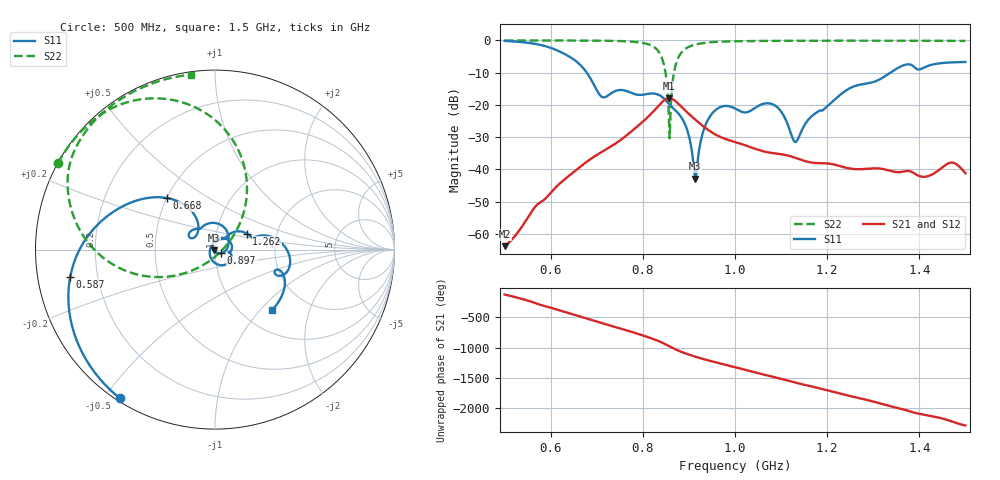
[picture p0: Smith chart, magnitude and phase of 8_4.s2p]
! TOUCHSTONE file generated by CST MICROWAVE STUDIO
! Date and time: Fri Oct  2 16:54:44 2020
! Project name: Scenario_1_Free_Space_out_of_line.cst
! Parameters = {Lambda=346.42; Step_1=17.321; dy1=226.253; dx1=693; L_HA=400; MT=2.54; Rad_Dielectric=30; Rad_Lower=7.3; Rad_Upper=30; a_HA=580; a_WG=246; b_HA=500; b_WG=121; c_HA=0; c_WG=187; d_feed=85; h_feed=15; h_lower=18; h_upper=40}
! Header version: 2018
! Port assignment regex: !\s*Touchstone port\s*([0-9]+)\s*=\s*(CST MWS port|CST DS port)\s*([0-9]+|Zmin|Zmax)\s*\(\"(.*)\"\)(\s*mode\s*([0-9]+))?.*
! Touchstone port assignment:
! Touchstone port 1 = CST MWS port 1 ("")
! Touchstone port 2 = CST MWS port 2 ("")
# GHz S DB R 50
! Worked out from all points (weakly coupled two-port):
!   1003 points, 500 MHz to 1.5 GHz, reference 50 ohm
!   highest |S21| = -17.91 dB at 857 MHz (marker M1); lowest = -63.8 dB at 500 MHz (marker M2)
!   lowest |S11| = -42.9 dB at 914 MHz (marker M3), VSWR 1.01, Z = 49.4 - j0.424 ohm
!   |S11| at or under -10 dB: 678.3 MHz to 1.337 GHz (658.7 MHz wide, 65.4 % of centre)
!   |S22| runs from -30.4 to 0.0 dB; largest |S21 - S12| = 5.2e-05
!   S11 on the Smith chart (normalised r, x): 500 MHz: 0.01, -0.55; 587 MHz: 0.10, -0.09; 668 MHz: 0.50, +0.34; 897 MHz: 1.07, -0.04; 1.262 GHz: 1.40, +0.26; 1.5 GHz: 1.37, -1.16
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0.5  -0.15 -122.6  -63.84 -127.3  -63.84 -127.3  -0.01 151.1
0.587  -1.72 -169.4  -49.29 43.3  -49.42 43.3  -0.02 145.1
0.667  -8.00 133.6  -38.88 -136.2  -38.88 -136.2  -0.04 138.3
0.668  -8.16 132.8  -38.77 -138.5  -38.77 -138.5  -0.04 138.2
0.713  -17.63 140.4  -34.43 117.3  -34.43 117.3  -0.09 133.2
0.789  -16.87 126.3  -26.56 -54.2  -26.56 -54.2  -0.55 117.3
0.834  -16.86 80.1  -20.28 -173.6  -20.28 -173.6  -3.42 85.6
0.847  -18.19 57.8  -18.48 141.3  -18.48 141.3  -8.33 62.2
0.857  -19.76 42.5  -17.91 102.1  -17.91 102.1  -25.91 9.0
0.873  -22.03 19.8  -19.11 41.9  -19.11 41.9  -6.76 -162.6
0.897  -28.15 -30.3  -22.43 -29.0  -22.43 -29.0  -2.19 170.1
0.914  -42.92 -143.1  -24.60 -71.3  -24.60 -71.2  -1.28 160.7
0.945  -23.72 72.6  -28.09 -138.6  -28.09 -138.6  -0.59 150.4
1  -21.12 -6.1  -31.52 115.3  -31.52 115.3  -0.26 140.2
1.084  -19.97 -58.2  -35.00 -44.9  -35.00 -44.9  -0.13 131.1
1.131  -31.52 159.6  -36.42 -138.0  -36.42 -138.0  -0.11 127.1
1.167  -23.44 58.9  -37.91 156.7  -37.91 156.7  -0.09 124.2
1.262  -14.07 26.9  -39.93 -20.3  -39.93 -20.3  -0.08 116.9
1.334  -10.29 14.4  -40.34 -160.6  -40.34 -160.6  -0.09 111.5
1.413  -8.24 -18.2  -42.29 49.0  -42.29 49.0  -0.11 105.3
1.471  -6.80 -38.0  -37.89 -60.2  -37.89 -60.2  -0.13 100.4
1.5  -6.69 -46.2  -41.18 -124.4  -41.18 -124.5  -0.14 97.9
